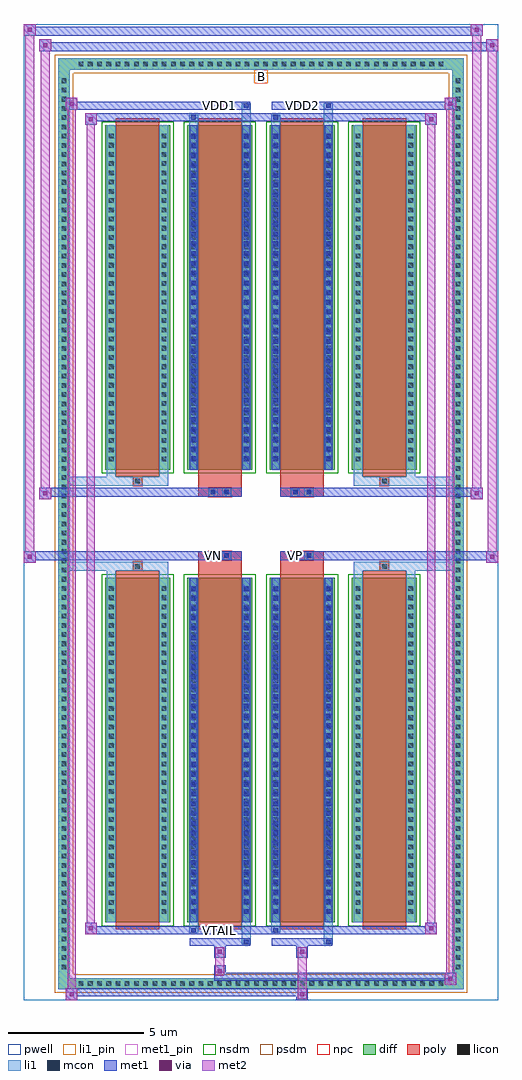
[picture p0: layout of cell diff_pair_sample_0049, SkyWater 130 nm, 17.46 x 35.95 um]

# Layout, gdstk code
import gdstk
lib = gdstk.Library(unit=1e-6, precision=5e-09)
def R(c, l, rs):  # rectangles x0, y0, x1, y1
    for r in rs: c.add(gdstk.rectangle(r[:2], r[2:], *l))
def A(c, l, x, y, w, h, nx, ny, dx, dy):  # array of equal rectangles
    R(c, l, [(x+i*dx, y+j*dy, x+i*dx+w, y+j*dy+h) for i in range(nx) for j in range(ny)])
def P(c, l, *ps):  # polygons
    for p in ps: c.add(gdstk.Polygon(p, *l))
pwell = (64, 44)
diff = (65, 20)
poly = (66, 20)
licon = (66, 44)
li1_pin = (67, 16)
li1 = (67, 20)
mcon = (67, 44)
met1_pin = (68, 16)
met1 = (68, 20)
via = (68, 44)
met2 = (69, 20)
nsdm = (93, 44)
psdm = (94, 20)
npc = (95, 20)

diff_pair_sample_0049 = lib.new_cell('diff_pair_sample_0049')
R(diff_pair_sample_0049, pwell, [(-8.73,-17.54,8.73,18.41), (-6.05,-15.73,-0.01,-0.805), (0.01,-15.73,6.05,-0.805), (-6.05,0.805,-0.01,15.73), (0.01,0.805,6.05,15.73)])
A(diff_pair_sample_0049, diff, -6.835, -17.14, 0.41, 0.41, 40, 2, 0.34, 33.87)
A(diff_pair_sample_0049, diff, -7.46, -16.525, 0.41, 0.41, 1, 97, 0, 0.34)
A(diff_pair_sample_0049, diff, 7.05, -16.525, 0.41, 0.41, 1, 97, 0, 0.34)
A(diff_pair_sample_0049, diff, -5.74, -14.685, 2.39, 12.7, 4, 2, 3.03, 16.67)
R(diff_pair_sample_0049, diff, [(-6.835,-17.14,6.835,-16.73), (-7.46,-16.525,-7.05,16.525), (7.05,-16.525,7.46,16.525), (-6.835,16.73,6.835,17.14)])
P(diff_pair_sample_0049, diff, [(7.46,17.14),(-7.46,17.14),(-7.46,-16.73),(-7.05,-16.73),(-7.05,16.73),(7.05,16.73),(7.05,-16.73),(-7.05,-16.73),(-7.46,-16.73),(-7.46,-17.14),(7.46,-17.14)])
A(diff_pair_sample_0049, poly, -5.35, -14.935, 1.61, 13.2, 4, 2, 3.03, 16.67)
R(diff_pair_sample_0049, poly, [(-4.71,-1.735,-4.38,-1.405), (-4.71,-1.735,-4.38,-1.405), (-2.32,-1.735,-0.71,-1.335), (0.71,-1.735,2.32,-1.335), (4.38,-1.735,4.71,-1.405), (4.38,-1.735,4.71,-1.405), (-2.32,-1.335,-0.71,-1.005), (-1.93,-1.335,-1.6,-1.005), (-1.43,-1.335,-1.1,-1.005), (0.71,-1.335,2.32,-1.005), (1.1,-1.335,1.43,-1.005), (1.6,-1.335,1.93,-1.005), (-2.32,1.005,-0.71,1.335), (-1.93,1.005,-1.6,1.335), (-1.43,1.005,-1.1,1.335), (0.71,1.005,2.32,1.335), (1.1,1.005,1.43,1.335), (1.6,1.005,1.93,1.335), (-2.32,1.335,-0.71,1.735), (0.71,1.335,2.32,1.735), (-4.71,1.405,-4.38,1.735), (-4.71,1.405,-4.38,1.735), (4.38,1.405,4.71,1.735), (4.38,1.405,4.71,1.735)])
A(diff_pair_sample_0049, licon, -6.715, -17.02, 0.17, 0.17, 40, 2, 0.34, 33.87)
A(diff_pair_sample_0049, licon, -7.34, -16.405, 0.17, 0.17, 1, 97, 0, 0.34)
A(diff_pair_sample_0049, licon, 7.17, -16.405, 0.17, 0.17, 1, 97, 0, 0.34)
A(diff_pair_sample_0049, licon, -5.6, -14.37, 0.17, 0.17, 1, 36, 0, 0.34)
A(diff_pair_sample_0049, licon, -3.66, -14.37, 0.17, 0.17, 1, 36, 0, 0.34)
A(diff_pair_sample_0049, licon, -2.57, -14.37, 0.17, 0.17, 1, 36, 0, 0.34)
A(diff_pair_sample_0049, licon, -0.63, -14.37, 0.17, 0.17, 1, 36, 0, 0.34)
A(diff_pair_sample_0049, licon, 0.46, -14.37, 0.17, 0.17, 1, 36, 0, 0.34)
A(diff_pair_sample_0049, licon, 2.4, -14.37, 0.17, 0.17, 1, 36, 0, 0.34)
A(diff_pair_sample_0049, licon, 3.49, -14.37, 0.17, 0.17, 1, 36, 0, 0.34)
A(diff_pair_sample_0049, licon, 5.43, -14.37, 0.17, 0.17, 1, 36, 0, 0.34)
A(diff_pair_sample_0049, licon, -5.6, 2.3, 0.17, 0.17, 1, 36, 0, 0.34)
A(diff_pair_sample_0049, licon, -3.66, 2.3, 0.17, 0.17, 1, 36, 0, 0.34)
A(diff_pair_sample_0049, licon, -2.57, 2.3, 0.17, 0.17, 1, 36, 0, 0.34)
A(diff_pair_sample_0049, licon, -0.63, 2.3, 0.17, 0.17, 1, 36, 0, 0.34)
A(diff_pair_sample_0049, licon, 0.46, 2.3, 0.17, 0.17, 1, 36, 0, 0.34)
A(diff_pair_sample_0049, licon, 2.4, 2.3, 0.17, 0.17, 1, 36, 0, 0.34)
A(diff_pair_sample_0049, licon, 3.49, 2.3, 0.17, 0.17, 1, 36, 0, 0.34)
A(diff_pair_sample_0049, licon, 5.43, 2.3, 0.17, 0.17, 1, 36, 0, 0.34)
R(diff_pair_sample_0049, licon, [(-4.63,-1.655,-4.46,-1.485), (4.46,-1.655,4.63,-1.485), (-1.85,-1.255,-1.68,-1.085), (-1.35,-1.255,-1.18,-1.085), (1.18,-1.255,1.35,-1.085), (1.68,-1.255,1.85,-1.085), (-1.85,1.085,-1.68,1.255), (-1.35,1.085,-1.18,1.255), (1.18,1.085,1.35,1.255), (1.68,1.085,1.85,1.255), (-4.63,1.485,-4.46,1.655), (4.46,1.485,4.63,1.655)])
R(diff_pair_sample_0049, li1_pin, [(-0.25,16.23,0.25,16.73)])
A(diff_pair_sample_0049, li1, -6.795, -17.1, 0.33, 0.33, 40, 2, 0.34, 33.87)
A(diff_pair_sample_0049, li1, -7.42, -16.485, 0.33, 0.33, 1, 97, 0, 0.34)
A(diff_pair_sample_0049, li1, 7.09, -16.485, 0.33, 0.33, 1, 97, 0, 0.34)
A(diff_pair_sample_0049, li1, -5.68, -14.45, 0.33, 0.33, 1, 36, 0, 0.34)
A(diff_pair_sample_0049, li1, -3.74, -14.45, 0.33, 0.33, 1, 36, 0, 0.34)
A(diff_pair_sample_0049, li1, -2.65, -14.45, 0.33, 0.33, 1, 36, 0, 0.34)
A(diff_pair_sample_0049, li1, -0.71, -14.45, 0.33, 0.33, 1, 36, 0, 0.34)
A(diff_pair_sample_0049, li1, 0.38, -14.45, 0.33, 0.33, 1, 36, 0, 0.34)
A(diff_pair_sample_0049, li1, 2.32, -14.45, 0.33, 0.33, 1, 36, 0, 0.34)
A(diff_pair_sample_0049, li1, 3.41, -14.45, 0.33, 0.33, 1, 36, 0, 0.34)
A(diff_pair_sample_0049, li1, 5.35, -14.45, 0.33, 0.33, 1, 36, 0, 0.34)
A(diff_pair_sample_0049, li1, -2.57, -14.36, 0.17, 0.17, 1, 34, 0, 0.36)
A(diff_pair_sample_0049, li1, -0.63, -14.36, 0.17, 0.17, 1, 34, 0, 0.36)
A(diff_pair_sample_0049, li1, 0.46, -14.36, 0.17, 0.17, 1, 34, 0, 0.36)
A(diff_pair_sample_0049, li1, 2.4, -14.36, 0.17, 0.17, 1, 34, 0, 0.36)
A(diff_pair_sample_0049, li1, -5.68, 2.22, 0.33, 0.33, 1, 36, 0, 0.34)
A(diff_pair_sample_0049, li1, -3.74, 2.22, 0.33, 0.33, 1, 36, 0, 0.34)
A(diff_pair_sample_0049, li1, -2.65, 2.22, 0.33, 0.33, 1, 36, 0, 0.34)
A(diff_pair_sample_0049, li1, -0.71, 2.22, 0.33, 0.33, 1, 36, 0, 0.34)
A(diff_pair_sample_0049, li1, 0.38, 2.22, 0.33, 0.33, 1, 36, 0, 0.34)
A(diff_pair_sample_0049, li1, 2.32, 2.22, 0.33, 0.33, 1, 36, 0, 0.34)
A(diff_pair_sample_0049, li1, 3.41, 2.22, 0.33, 0.33, 1, 36, 0, 0.34)
A(diff_pair_sample_0049, li1, 5.35, 2.22, 0.33, 0.33, 1, 36, 0, 0.34)
A(diff_pair_sample_0049, li1, -2.57, 2.31, 0.17, 0.17, 1, 34, 0, 0.36)
A(diff_pair_sample_0049, li1, -0.63, 2.31, 0.17, 0.17, 1, 34, 0, 0.36)
A(diff_pair_sample_0049, li1, 0.46, 2.31, 0.17, 0.17, 1, 34, 0, 0.36)
A(diff_pair_sample_0049, li1, 2.4, 2.31, 0.17, 0.17, 1, 34, 0, 0.36)
R(diff_pair_sample_0049, li1, [(-7.46,-17.14,-7.05,-16.73), (-7.46,-17.14,-7.05,-16.73), (-7.05,-17.14,7.05,-16.73), (7.05,-17.14,7.46,-16.73), (7.05,-17.14,7.46,-16.73), (-7.46,-16.73,-7.05,16.73), (7.05,-16.73,7.46,16.73), (-0.71,-15.49,-0.38,-14.685), (-0.63,-15.49,-0.46,-15.32), (2.32,-15.49,2.65,-14.685), (2.4,-15.49,2.57,-15.32), (-2.65,-15.06,-2.32,-14.685), (-2.57,-15.06,-2.4,-14.89), (0.38,-15.06,0.71,-14.685), (0.46,-15.06,0.63,-14.89), (-5.68,-14.685,-5.35,-1.985), (-3.74,-14.685,-3.41,-1.985), (-2.65,-14.685,-2.32,-1.985), (-0.71,-14.685,-0.38,-1.985), (0.38,-14.685,0.71,-1.985), (2.32,-14.685,2.65,-1.985), (3.41,-14.685,3.74,-1.985), (5.35,-14.685,5.68,-1.985), (-2.57,-14.36,-2.4,-2.31), (-0.63,-14.36,-0.46,-2.31), (0.46,-14.36,0.63,-2.31), (2.4,-14.36,2.57,-2.31), (-5.68,-1.985,-5.35,-1.405), (-3.74,-1.985,-3.41,-1.405), (3.41,-1.985,3.74,-1.405), (5.35,-1.985,5.68,-1.405), (-7.46,-1.735,-4.71,-1.405), (-5.68,-1.735,-4.71,-1.405), (-4.71,-1.735,-4.38,-1.405), (-4.38,-1.735,-3.41,-1.405), (3.41,-1.735,4.38,-1.405), (4.38,-1.735,4.71,-1.405), (4.38,-1.735,7.46,-1.405), (4.71,-1.735,5.68,-1.405), (-1.93,-1.335,-1.6,-1.005), (-1.43,-1.335,-1.1,-1.005), (1.1,-1.335,1.43,-1.005), (1.6,-1.335,1.93,-1.005), (-1.93,1.005,-1.6,1.335), (-1.43,1.005,-1.1,1.335), (1.1,1.005,1.43,1.335), (1.6,1.005,1.93,1.335), (-7.46,1.405,-4.71,1.735), (-5.68,1.405,-4.71,1.735), (-5.68,1.405,-5.35,1.985), (-4.71,1.405,-4.38,1.735), (-4.38,1.405,-3.41,1.735), (-3.74,1.405,-3.41,1.985), (3.41,1.405,4.38,1.735), (3.41,1.405,3.74,1.985), (4.38,1.405,4.71,1.735), (4.38,1.405,7.46,1.735), (4.71,1.405,5.68,1.735), (5.35,1.405,5.68,1.985), (-5.68,1.985,-5.35,14.685), (-3.74,1.985,-3.41,14.685), (-2.65,1.985,-2.32,14.685), (-0.71,1.985,-0.38,14.685), (0.38,1.985,0.71,14.685), (2.32,1.985,2.65,14.685), (3.41,1.985,3.74,14.685), (5.35,1.985,5.68,14.685), (-2.57,2.31,-2.4,14.36), (-0.63,2.31,-0.46,14.36), (0.46,2.31,0.63,14.36), (2.4,2.31,2.57,14.36), (-2.65,14.685,-2.32,15.06), (-0.71,14.685,-0.38,15.49), (0.38,14.685,0.71,15.06), (2.32,14.685,2.65,15.49), (-2.57,14.89,-2.4,15.06), (0.46,14.89,0.63,15.06), (-0.63,15.32,-0.46,15.49), (2.4,15.32,2.57,15.49), (-7.46,16.73,-7.05,17.14), (-7.46,16.73,-7.05,17.14), (-7.05,16.73,7.05,17.14), (7.05,16.73,7.46,17.14), (7.05,16.73,7.46,17.14)])
A(diff_pair_sample_0049, mcon, -2.57, -14.36, 0.17, 0.17, 1, 34, 0, 0.36)
A(diff_pair_sample_0049, mcon, -0.63, -14.36, 0.17, 0.17, 1, 34, 0, 0.36)
A(diff_pair_sample_0049, mcon, 0.46, -14.36, 0.17, 0.17, 1, 34, 0, 0.36)
A(diff_pair_sample_0049, mcon, 2.4, -14.36, 0.17, 0.17, 1, 34, 0, 0.36)
A(diff_pair_sample_0049, mcon, -2.57, 2.31, 0.17, 0.17, 1, 34, 0, 0.36)
A(diff_pair_sample_0049, mcon, -0.63, 2.31, 0.17, 0.17, 1, 34, 0, 0.36)
A(diff_pair_sample_0049, mcon, 0.46, 2.31, 0.17, 0.17, 1, 34, 0, 0.36)
A(diff_pair_sample_0049, mcon, 2.4, 2.31, 0.17, 0.17, 1, 34, 0, 0.36)
R(diff_pair_sample_0049, mcon, [(-0.63,-15.49,-0.46,-15.32), (2.4,-15.49,2.57,-15.32), (-2.57,-15.06,-2.4,-14.89), (0.46,-15.06,0.63,-14.89), (-1.85,-1.255,-1.68,-1.085), (-1.35,-1.255,-1.18,-1.085), (1.18,-1.255,1.35,-1.085), (1.68,-1.255,1.85,-1.085), (-1.85,1.085,-1.68,1.255), (-1.35,1.085,-1.18,1.255), (1.18,1.085,1.35,1.255), (1.68,1.085,1.85,1.255), (-2.57,14.89,-2.4,15.06), (0.46,14.89,0.63,15.06), (-0.63,15.32,-0.46,15.49), (2.4,15.32,2.57,15.49)])
R(diff_pair_sample_0049, met1_pin, [(-1.65,-15.1,-1.38,-14.83), (-1.9,-1.295,-1.63,-1.025), (1.13,-1.295,1.4,-1.025), (-1.65,15.28,-1.38,15.55), (1.38,15.28,1.65,15.55)])
A(diff_pair_sample_0049, met1, -2.63, -14.42, 0.29, 0.29, 1, 34, 0, 0.36)
A(diff_pair_sample_0049, met1, -0.69, -14.42, 0.29, 0.29, 1, 34, 0, 0.36)
A(diff_pair_sample_0049, met1, 0.4, -14.42, 0.29, 0.29, 1, 34, 0, 0.36)
A(diff_pair_sample_0049, met1, 2.34, -14.42, 0.29, 0.29, 1, 34, 0, 0.36)
A(diff_pair_sample_0049, met1, -2.63, 2.25, 0.29, 0.29, 1, 34, 0, 0.36)
A(diff_pair_sample_0049, met1, -0.69, 2.25, 0.29, 0.29, 1, 34, 0, 0.36)
A(diff_pair_sample_0049, met1, 0.4, 2.25, 0.29, 0.29, 1, 34, 0, 0.36)
A(diff_pair_sample_0049, met1, 2.34, 2.25, 0.29, 0.29, 1, 34, 0, 0.36)
R(diff_pair_sample_0049, met1, [(-7.19,-17.54,-6.76,-17.11), (1.3,-17.54,1.73,-17.11), (-7.19,-17.4,1.73,-17.11), (6.76,-16.97,7.19,-16.54), (-1.73,-16.83,7.19,-16.54), (-1.73,-16.69,-1.3,-16.26), (-1.73,-15.98,-1.3,-15.55), (1.3,-15.98,1.73,-15.55), (-2.63,-15.55,-0.4,-15.26), (-0.69,-15.55,-0.4,-15.26), (0.4,-15.55,2.63,-15.26), (2.34,-15.55,2.63,-15.26), (-6.48,-15.12,-6.05,-14.69), (-6.48,-15.12,-2.63,-14.83), (-2.63,-15.12,-2.34,-14.83), (-2.63,-15.12,-0.4,-14.83), (-0.4,-15.12,0.4,-14.83), (0.4,-15.12,0.69,-14.83), (0.4,-15.12,2.63,-14.83), (2.63,-15.12,6.48,-14.83), (6.05,-15.12,6.48,-14.69), (-2.63,-14.685,-2.34,-1.985), (-0.69,-14.685,-0.4,-1.985), (0.4,-14.685,0.69,-1.985), (2.34,-14.685,2.63,-1.985), (-8.73,-1.435,-8.3,-1.005), (8.3,-1.435,8.73,-1.005), (-8.73,-1.335,-0.71,-1.005), (-2.32,-1.335,-0.71,-1.005), (0.71,-1.335,2.32,-1.005), (0.71,-1.335,8.73,-1.005), (-1.91,-1.315,-1.62,-1.025), (-1.41,-1.315,-1.12,-1.025), (1.12,-1.315,1.41,-1.025), (1.62,-1.315,1.91,-1.025), (-8.16,0.905,-7.73,1.335), (7.73,0.905,8.16,1.335), (-8.16,1.005,-2.32,1.335), (-2.32,1.005,-0.71,1.335), (0.71,1.005,2.32,1.335), (2.32,1.005,8.16,1.335), (-1.91,1.025,-1.62,1.315), (-1.41,1.025,-1.12,1.315), (1.12,1.025,1.41,1.315), (1.62,1.025,1.91,1.315), (-2.63,1.985,-2.34,14.685), (-0.69,1.985,-0.4,14.685), (0.4,1.985,0.69,14.685), (2.34,1.985,2.63,14.685), (-6.48,14.69,-6.05,15.12), (6.05,14.69,6.48,15.12), (-6.48,14.83,-2.63,15.12), (-2.63,14.83,-2.34,15.12), (-2.63,14.83,-0.4,15.12), (-0.4,14.83,0.4,15.12), (0.4,14.83,0.69,15.12), (0.4,14.83,2.63,15.12), (2.63,14.83,6.48,15.12), (-7.19,15.26,-6.76,15.69), (-7.19,15.26,-2.63,15.55), (-2.63,15.26,-0.4,15.55), (-0.69,15.26,-0.4,15.55), (0.4,15.26,2.63,15.55), (2.34,15.26,2.63,15.55), (2.63,15.26,7.19,15.55), (6.76,15.26,7.19,15.69), (-8.16,17.41,-7.73,17.84), (-8.16,17.41,-6.05,17.74), (-6.05,17.41,6.05,17.74), (6.05,17.41,8.73,17.74), (8.3,17.41,8.73,17.84), (-8.73,17.98,-8.3,18.41), (-8.73,17.98,-6.05,18.31), (-6.05,17.98,6.05,18.31), (6.05,17.98,8.16,18.31), (7.73,17.98,8.16,18.41)])
R(diff_pair_sample_0049, via, [(-7.05,-17.4,-6.9,-17.25), (1.44,-17.4,1.59,-17.25), (6.9,-16.83,7.05,-16.68), (-1.59,-16.55,-1.44,-16.4), (-1.59,-15.84,-1.44,-15.69), (1.44,-15.84,1.59,-15.69), (-6.34,-14.98,-6.19,-14.83), (6.19,-14.98,6.34,-14.83), (-8.59,-1.295,-8.44,-1.145), (8.44,-1.295,8.59,-1.145), (-8.02,1.045,-7.87,1.195), (7.87,1.045,8.02,1.195), (-6.34,14.83,-6.19,14.98), (6.19,14.83,6.34,14.98), (-7.05,15.4,-6.9,15.55), (6.9,15.4,7.05,15.55), (-8.02,17.55,-7.87,17.7), (8.44,17.55,8.59,17.7), (-8.59,18.12,-8.44,18.27), (7.87,18.12,8.02,18.27)])
R(diff_pair_sample_0049, met2, [(-7.19,-17.54,-6.76,-17.11), (-7.12,-17.54,-6.83,15.69), (-6.83,-17.54,-6.76,-17.11), (-7.14,-17.49,-6.81,-17.16), (1.35,-17.49,1.68,-17.16), (1.35,-17.16,1.68,-15.93), (6.76,-16.97,7.19,-16.54), (6.83,-16.97,7.12,15.69), (7.12,-16.97,7.19,-16.54), (6.81,-16.92,7.14,-16.59), (-1.68,-16.64,-1.35,-16.31), (-1.68,-16.31,-1.35,-15.93), (-1.68,-15.93,-1.35,-15.6), (1.35,-15.93,1.68,-15.6), (-6.48,-15.12,-6.05,-14.69), (-6.41,-15.12,-6.12,15.12), (-6.12,-15.12,-6.05,-14.69), (6.05,-15.12,6.48,-14.69), (6.12,-15.12,6.41,15.12), (6.41,-15.12,6.48,-14.69), (-6.43,-15.07,-6.1,-14.74), (6.1,-15.07,6.43,-14.74), (-8.73,-1.435,-8.3,-1.005), (-8.68,-1.435,-8.35,18.41), (-8.35,-1.435,-8.3,-1.005), (8.3,-1.435,8.73,-1.005), (8.35,-1.435,8.68,17.84), (8.68,-1.435,8.73,-1.005), (-8.68,-1.385,-8.35,-1.055), (8.35,-1.385,8.68,-1.055), (-8.16,0.905,-7.73,1.335), (-8.11,0.905,-7.78,17.84), (-7.78,0.905,-7.73,1.335), (7.73,0.905,8.16,1.335), (7.78,0.905,8.11,18.41), (8.11,0.905,8.16,1.335), (-8.11,0.955,-7.78,1.285), (7.78,0.955,8.11,1.285), (-6.48,14.69,-6.05,15.12), (-6.12,14.69,-6.05,15.12), (6.05,14.69,6.48,15.12), (6.41,14.69,6.48,15.12), (-6.43,14.74,-6.1,15.07), (6.1,14.74,6.43,15.07), (-7.19,15.26,-6.76,15.69), (-6.83,15.26,-6.76,15.69), (6.76,15.26,7.19,15.69), (7.12,15.26,7.19,15.69), (-7.14,15.31,-6.81,15.64), (6.81,15.31,7.14,15.64), (-8.16,17.41,-7.73,17.84), (-7.78,17.41,-7.73,17.84), (8.3,17.41,8.73,17.84), (8.68,17.41,8.73,17.84), (-8.11,17.46,-7.78,17.79), (8.35,17.46,8.68,17.79), (-8.73,17.98,-8.3,18.41), (-8.35,17.98,-8.3,18.41), (7.73,17.98,8.16,18.41), (8.11,17.98,8.16,18.41), (-8.68,18.03,-8.35,18.36), (7.78,18.03,8.11,18.36)])
A(diff_pair_sample_0049, nsdm, -5.87, -14.815, 2.65, 12.96, 4, 2, 3.03, 16.67)
P(diff_pair_sample_0049, psdm, [(7.59,17.27),(-7.59,17.27),(-7.59,-16.6),(-6.92,-16.6),(-6.92,16.6),(6.92,16.6),(6.92,-16.6),(-6.92,-16.6),(-7.59,-16.6),(-7.59,-17.27),(7.59,-17.27)])
R(diff_pair_sample_0049, npc, [(-4.73,-1.755,-4.36,-1.385), (4.36,-1.755,4.73,-1.385), (-1.95,-1.355,-1.58,-0.985), (-1.95,-1.355,-1.08,-0.985), (-1.95,-1.355,-1.08,-0.985), (-1.45,-1.355,-1.08,-0.985), (1.08,-1.355,1.45,-0.985), (1.08,-1.355,1.95,-0.985), (1.08,-1.355,1.95,-0.985), (1.58,-1.355,1.95,-0.985), (-1.95,0.985,-1.58,1.355), (-1.95,0.985,-1.08,1.355), (-1.95,0.985,-1.08,1.355), (-1.45,0.985,-1.08,1.355), (1.08,0.985,1.45,1.355), (1.08,0.985,1.95,1.355), (1.08,0.985,1.95,1.355), (1.58,0.985,1.95,1.355), (-4.73,1.385,-4.36,1.755), (4.36,1.385,4.73,1.755)])
diff_pair_sample_0049.add(gdstk.Label('VTAIL', (-1.515,-14.965), layer=68, texttype=5))
diff_pair_sample_0049.add(gdstk.Label('VN', (-1.765,-1.16), layer=68, texttype=5))
diff_pair_sample_0049.add(gdstk.Label('VP', (1.265,-1.16), layer=68, texttype=5))
diff_pair_sample_0049.add(gdstk.Label('B', (0,16.48), layer=67, texttype=5))
diff_pair_sample_0049.add(gdstk.Label('VDD2', (1.515,15.415), layer=68, texttype=5))
diff_pair_sample_0049.add(gdstk.Label('VDD1', (-1.515,15.415), layer=68, texttype=5))

lib.write_gds('diff_pair_sample_0049.gds')
